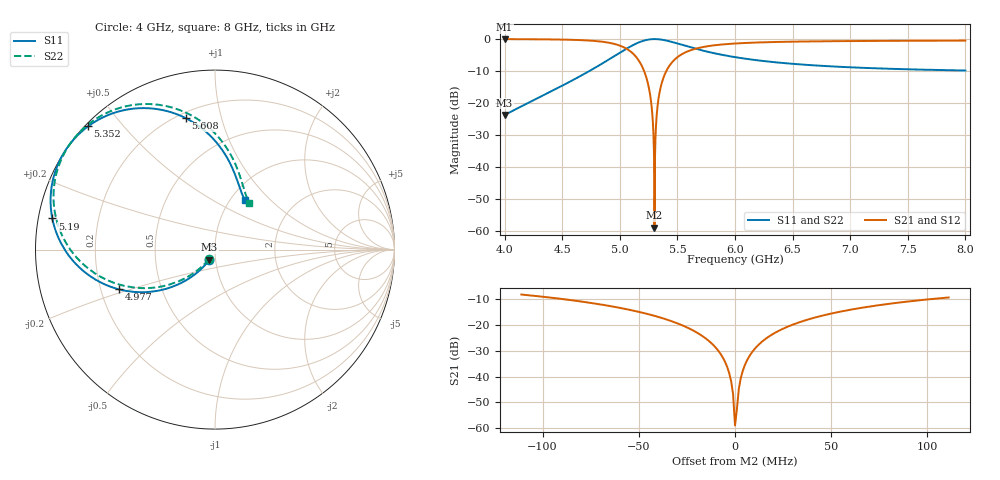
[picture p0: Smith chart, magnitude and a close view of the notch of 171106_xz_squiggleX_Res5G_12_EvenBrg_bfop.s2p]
! Sonnet Data File
! From: emgraph Version : 16.52
! From Emgraph Data: 171106_xz_squiggleX_Res5G_12_EvenBrg
! Data File Written: 11/07/2017 16:55:48
!< HDATE 11/07/2017 15:13:00
!< MDATE 11/07/2017 15:13:00
!< PARAMS
!< dCr = 12.0
!< Squiggle_length = 16.0
!< END PARAMS
# GHZ S MA R 50.00000
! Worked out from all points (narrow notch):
!   4001 points, 4 GHz to 8 GHz, reference 50 ohm
!   highest |S21| = -0.02 dB at 4 GHz (marker M1); lowest = -58.9 dB at 5.301 GHz (marker M2)
!   notch at M2: 58.3 dB deep, 18.6 MHz wide at half that depth
!   lowest |S11| = -23.7 dB at 4 GHz (marker M3), VSWR 1.14, Z = 46.6 - j5.33 ohm
!   |S11| at or under -10 dB: start of sweep to 4.735 GHz
!   |S22| runs from -23.7 to 0.0 dB; largest |S21 - S12| = 0
!   S11 on the Smith chart (normalised r, x): 4 GHz: 0.93, -0.11; 4.977 GHz: 0.28, -0.18; 5.19 GHz: 0.04, +0.09; 5.352 GHz: 0.01, +0.41; 5.608 GHz: 0.23, +0.78; 8 GHz: 1.16, +0.72
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4  0.06509 -119.1  0.9979 -31.1  0.9979 -31.1  0.06509 -123.0
!< P1 F=4.0 Eeff=(6.53975032 -3.0165e-5) Z0=(50.7196192 1.16963e-4) R=0.01177958 C=0.01558055
!< P2 F=4.0 Eeff=(6.53975032 -3.0165e-5) Z0=(50.7196192 1.16963e-4) R=0.01177958 C=0.01558055
4.667  0.2701 -135.8  0.9626 -47.4  0.9626 -47.4  0.2701 -139.1
4.835  0.4025 -145.0  0.9151 -56.5  0.9151 -56.5  0.4025 -148.2
4.977  0.5768 -157.4  0.8165 -69.0  0.8165 -69.0  0.5768 -160.6
5.089  0.7604 -172.3  0.6491 -84.0  0.6491 -84.0  0.7604 -175.6
5.19  0.9228 169.2  0.3849 -102.4  0.3849 -102.4  0.9228 165.9
5.228  0.9656 161.3  0.2595 -110.3  0.2595 -110.3  0.9656 158.1
5.256  0.987 155.3  0.1603 -116.3  0.1603 -116.3  0.987 152.0
5.274  0.9953 151.5  0.09631 -120.1  0.09631 -120.1  0.9953 148.2
5.288  0.9989 148.6  0.0467 -123.0  0.0467 -123.0  0.9989 145.3
5.301  1 145.9  0.00113 -123.6  0.00113 -123.6  1 142.6
5.316  0.9987 142.8  0.05049 51.1  0.05049 51.1  0.9987 139.5
5.326  0.9964 140.8  0.08416 49.2  0.08416 49.2  0.9964 137.5
5.334  0.9938 139.3  0.1106 47.6  0.1106 47.6  0.9938 136.0
5.352  0.9857 135.8  0.1682 44.2  0.1682 44.2  0.9857 132.5
5.389  0.9608 129.2  0.2771 37.5  0.2771 37.5  0.9608 125.9
5.442  0.9127 120.8  0.4087 29.1  0.4087 29.1  0.9127 117.5
5.608  0.749 102.4  0.6626 10.7  0.6626 10.7  0.749 99.0
6  0.5223 83.0  0.8527 -8.8  0.8527 -8.8  0.5223 79.4
6.667  0.3904 70.6  0.9203 -21.4  0.9203 -21.4  0.3905 66.6
7.334  0.3439 63.9  0.9387 -28.4  0.9387 -28.4  0.344 59.4
8  0.3228 58.9  0.9465 -33.7  0.9465 -33.7  0.3228 53.7
